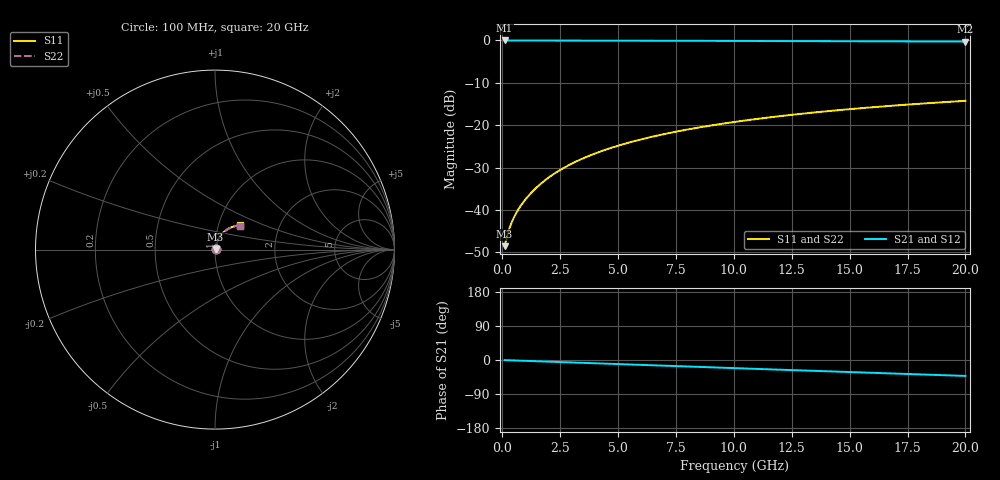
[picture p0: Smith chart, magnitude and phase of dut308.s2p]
! Touchstone file exported from HFSS 2026.1.0
!  File:  C:/ffzhzh/LocalFiles/Ansys_Project_Files/temp_train_BSMRDL_308_1783010612_55676.aedt
!  Generated:  12:44:53 AM Jul  3, 2026
!  Design:  BSMRDL
!  Project:  temp_train_BSMRDL_308_1783010612_55676
! Variables:
!  h_bsmrdl = 2.89um
!  h_ox = 20um
!  h_rdl = 5um
!  h_sub = 80um
!  h_tmrdl = 5um
!  h_tsv = 80um
!  h_via = 3um
!  l_bsmrdl = 702.34um
!  l_sub = 1102.34um
!  l_tmrdl = 200um
!  m_sub = 200um
!  pitch = 38.75um
!  r_tsv = 6um
!  s_tmrdl = 10um
!  w_bsmrdl = 28.29um
!  w_sub = 500um
!  w_tmrdl = 12um
!  x_tsv_center1 = 206um
!  x_tsv_center2 = 936.63um
!  x_tsv_center3 = 1148.63um
!  x_tsv_center4 = 1879.26um
!  x_tsv_center5 = 2091.26um
!  x_tsv_center6 = 2821.89um
# GHz S MA R 50.000000
! Terminal data exported
! Port[1] = BSM_RDL1_1_T1
! Port[2] = BSM_RDL1_1_T2
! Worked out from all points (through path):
!   200 points, 100 MHz to 20 GHz, reference 50 ohm
!   highest |S21| = -0.03 dB at 100 MHz (marker M1); lowest = -0.3 dB at 20 GHz (marker M2)
!   group delay of S21, straight-line fit = 5.83 ps
!   lowest |S11| = -48.5 dB at 100 MHz (marker M3), VSWR 1.01, Z = 50.3 + j0.162 ohm
!   |S11| at or under -10 dB: start of sweep to end of sweep
!   |S22| runs from -48.5 to -14.3 dB; largest |S21 - S12| = 4.1e-15
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0.1  0.00374 25.5  0.9966 -0.2  0.9966 -0.2  0.00374 25.5
! Gamma 0 0 0 0
! Port Impedance 50 0 50 0
0.2  0.004795 40.1  0.9964 -0.5  0.9964 -0.5  0.004795 40.1
0.3  0.005958 47.6  0.996 -0.7  0.996 -0.7  0.005958 47.6
0.4  0.007079 52.2  0.9957 -0.9  0.9957 -0.9  0.00708 52.2
0.5  0.008148 55.4  0.9955 -1.1  0.9955 -1.1  0.008148 55.4
0.6  0.009184 58.1  0.9953 -1.4  0.9953 -1.4  0.009184 58.1
0.8  0.01123 62.2  0.995 -1.8  0.995 -1.8  0.01123 62.2
1  0.0133 65.3  0.9948 -2.2  0.9948 -2.2  0.0133 65.3
1.2  0.0154 67.6  0.9947 -2.6  0.9947 -2.6  0.0154 67.6
1.7  0.02078 71.2  0.9944 -3.7  0.9944 -3.7  0.02078 71.2
2.2  0.02629 72.9  0.9941 -4.8  0.9941 -4.8  0.02629 72.9
2.8  0.03294 73.7  0.9937 -6.1  0.9937 -6.1  0.03294 73.7
3.5  0.04072 73.7  0.9931 -7.6  0.9931 -7.6  0.04072 73.7
4.2  0.04845 73.2  0.9924 -9.1  0.9924 -9.1  0.04845 73.2
5  0.05721 72.2  0.9915 -10.8  0.9915 -10.8  0.0572 72.2
5.9  0.06691 70.9  0.9903 -12.8  0.9903 -12.8  0.06691 70.9
6.8  0.07644 69.4  0.9891 -14.7  0.9891 -14.7  0.07644 69.3
8.3  0.09192 66.6  0.9868 -17.9  0.9868 -17.9  0.09191 66.6
10.1  0.1098 63.2  0.9839 -21.6  0.9839 -21.6  0.1098 63.1
13.4  0.1404 56.8  0.9783 -28.5  0.9783 -28.5  0.1404 56.7
16.7  0.1684 50.4  0.9725 -35.3  0.9725 -35.3  0.1684 50.3
20  0.1934 44.0  0.9668 -42.0  0.9668 -42.0  0.1934 43.9
